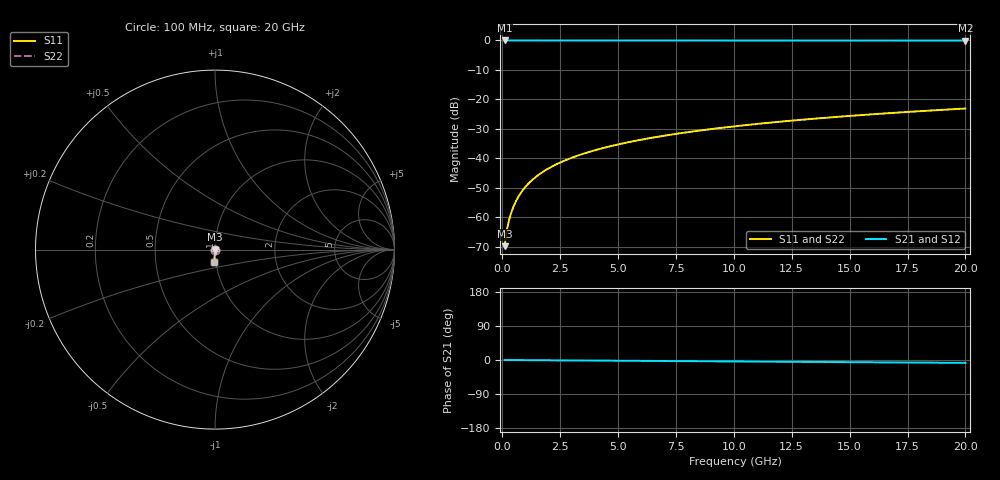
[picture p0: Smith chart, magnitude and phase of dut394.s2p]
! Touchstone file exported from HFSS 2026.1.0
!  File:  C:/ffzhzh/LocalFiles/Ansys_Project_Files/temp_train_TSV_394_1783020129_55676.aedt
!  Generated:  03:23:42 AM Jul  3, 2026
!  Design:  TSV
!  Project:  temp_train_TSV_394_1783020129_55676
! Variables:
!  h_bsmrdl = 2um
!  h_ox = 20um
!  h_rdl = 5um
!  h_sub = 68.54um
!  h_tmrdl = 5um
!  h_tsv = 68.54um
!  h_via = 3um
!  l_bsmrdl = 300um
!  l_sub = 419.66um
!  l_tmrdl = 200um
!  m_sub = 200um
!  pitch = 25.31um
!  r_tsv = 9.83um
!  s_tmrdl = 10um
!  w_bsmrdl = 18um
!  w_sub = 500um
!  w_tmrdl = 12um
!  x_tsv_center1 = 206um
!  x_tsv_center2 = 524um
!  x_tsv_center3 = 736um
!  x_tsv_center4 = 1054um
!  x_tsv_center5 = 1266um
!  x_tsv_center6 = 1584um
# GHz S MA R 50.000000
! Terminal data exported
! Port[1] = TSV1_1_T1
! Port[2] = TSV1_1_T2
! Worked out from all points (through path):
!   200 points, 100 MHz to 20 GHz, reference 50 ohm
!   highest |S21| = 0.00 dB at 100 MHz (marker M1); lowest = 0.0 dB at 20 GHz (marker M2)
!   group delay of S21, straight-line fit = 1.05 ps
!   lowest |S11| = -69.8 dB at 100 MHz (marker M3), VSWR 1.00, Z = 50 - j0.0298 ohm
!   |S11| at or under -10 dB: start of sweep to end of sweep
!   |S22| runs from -69.8 to -23.1 dB; largest |S21 - S12| = 2.2e-15
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0.1  0.0003251 -66.3  0.9999 -0.0  0.9999 -0.0  0.0003251 -66.3
! Gamma 0 0 0 0
! Port Impedance 50 0 50 0
0.2  0.0006187 -76.1  0.9999 -0.1  0.9999 -0.1  0.0006187 -76.1
0.3  0.0009289 -79.2  0.9998 -0.1  0.9998 -0.1  0.0009289 -79.2
0.4  0.00125 -80.7  0.9998 -0.2  0.9998 -0.2  0.00125 -80.7
0.5  0.001581 -81.6  0.9998 -0.2  0.9998 -0.2  0.001581 -81.6
0.7  0.002259 -82.9  0.9997 -0.3  0.9997 -0.3  0.002259 -82.9
0.8  0.002603 -83.4  0.9997 -0.3  0.9997 -0.3  0.002603 -83.4
1  0.003296 -84.3  0.9996 -0.4  0.9996 -0.4  0.003296 -84.3
1.2  0.003991 -85.0  0.9996 -0.5  0.9996 -0.5  0.003991 -85.0
1.4  0.004687 -85.6  0.9996 -0.5  0.9996 -0.5  0.004687 -85.6
1.7  0.00573 -86.3  0.9995 -0.7  0.9995 -0.7  0.00573 -86.3
2  0.006773 -86.8  0.9995 -0.8  0.9995 -0.8  0.006773 -86.8
2.7  0.009208 -87.8  0.9994 -1.0  0.9994 -1.0  0.009208 -87.8
3.5  0.012 -88.5  0.9993 -1.3  0.9993 -1.3  0.012 -88.5
4.2  0.01445 -89.0  0.9992 -1.6  0.9992 -1.6  0.01445 -89.0
5  0.01725 -89.5  0.9991 -1.9  0.9991 -1.9  0.01725 -89.5
6.8  0.02359 -90.5  0.9989 -2.6  0.9989 -2.6  0.02359 -90.5
8.3  0.02889 -91.3  0.9986 -3.2  0.9986 -3.2  0.02889 -91.3
10.1  0.03525 -92.2  0.9983 -3.8  0.9983 -3.8  0.03525 -92.2
13.4  0.0469 -93.6  0.9977 -5.1  0.9977 -5.1  0.0469 -93.6
16.7  0.05853 -95.0  0.9969 -6.3  0.9969 -6.3  0.05853 -95.0
20  0.07015 -96.4  0.996 -7.6  0.996 -7.6  0.07015 -96.4
